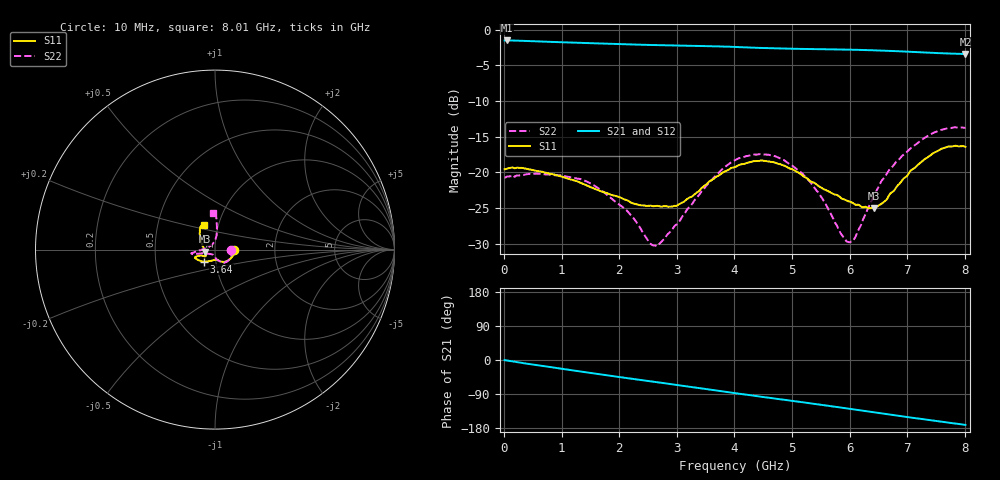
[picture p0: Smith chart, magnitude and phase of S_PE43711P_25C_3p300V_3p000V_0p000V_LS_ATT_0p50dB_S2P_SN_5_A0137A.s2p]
! Device ID: PE43711P
! File Path: z:\PE43711P\CHAR_NOM_04282014\AMB\3p300\LS_ATT_0p50dB\PE43711P_AMB_3p300V_3p000V_0p000V_LS_ATT_0p50dB_S2P_SN_5_A0137A.s2p
! Serial: 5
! Lot: A0137A
! Temp: 25C
! VDD: 3.300
! VSS: 0.000
! Control_Hi: 3.000
! Control_Lo: 0.000
! Attenuation Step: 0.50dB
! Port 1: RF1
! Port 2: RF2
! ThroughPath:1-2
! IDD: 0.0001273645
! ISS: -9.71e-008
#  Hz  S  RI  R  50
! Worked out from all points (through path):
!   801 points, 10 MHz to 8.01 GHz, reference 50 ohm
!   highest |S21| = -1.52 dB at 50 MHz (marker M1); lowest = -3.4 dB at 8.01 GHz (marker M2)
!   group delay of S21, straight-line fit = 58.9 ps
!   lowest |S11| = -25.0 dB at 6.42 GHz (marker M3), VSWR 1.12, Z = 44.8 - j1.04 ohm
!   |S11| at or under -10 dB: start of sweep to end of sweep
!   |S22| runs from -30.4 to -13.7 dB; largest |S21 - S12| = 0.0012
!   S11 on the Smith chart (normalised r, x): 10 MHz: 1.23, -0.00; 3.64 GHz: 0.88, -0.12; 8.01 GHz: 0.85, +0.24
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1e7  0.1049 -0.000587  0.8398 -0.00395  0.8399 -0.00428  0.0919 -0.000775
5e7  0.1059 -0.00274  0.8396 -0.0184  0.8396 -0.0184  0.0932 -0.00268
5.8e8  0.0917 -0.0444  0.8031 -0.199  0.8032 -0.1989  0.0865 -0.0456
1.35e9  0.0478 -0.0685  0.6927 -0.4152  0.6928 -0.4152  0.0501 -0.0736
2.1e9  0.019 -0.0615  0.5386 -0.5777  0.5387 -0.5779  0.00808 -0.0548
2.53e9  0.0136 -0.0566  0.437 -0.6477  0.4371 -0.6478  -0.00759 -0.031
2.68e9  0.00989 -0.0571  0.3999 -0.6685  0.4002 -0.6689  -0.0163 -0.0262
3.03e9  -0.00861 -0.0588  0.3085 -0.7099  0.3087 -0.7104  -0.0381 -0.023
3.64e9  -0.0602 -0.0667  0.1399 -0.7518  0.1395 -0.7521  -0.0889 -0.022
4.01e9  -0.0921 -0.0585  0.0338 -0.7552  0.0334 -0.7558  -0.119 -0.0247
4.34e9  -0.1096 -0.0482  -0.0564 -0.7453  -0.0565 -0.7459  -0.1311 -0.0231
4.69e9  -0.1096 -0.0416  -0.1474 -0.725  -0.1475 -0.7252  -0.1286 -0.0192
5.03e9  -0.0971 -0.0365  -0.2315 -0.6967  -0.232 -0.6969  -0.1087 -0.012
5.35e9  -0.079 -0.0322  -0.3089 -0.662  -0.3091 -0.6628  -0.0817 -0.00374
5.85e9  -0.0545 -0.0372  -0.4224 -0.5893  -0.4224 -0.5899  -0.0335 0.0157
5.98e9  -0.0517 -0.0353  -0.4494 -0.567  -0.4496 -0.5678  -0.0218 0.024
6.09e9  -0.0502 -0.0321  -0.4714 -0.5464  -0.4719 -0.547  -0.0129 0.0321
6.42e9  -0.0547 -0.0116  -0.5319 -0.4792  -0.532 -0.4798  0.00613 0.0681
6.68e9  -0.0666 0.0161  -0.5715 -0.4218  -0.5712 -0.4222  0.00972 0.1024
7.07e9  -0.0833 0.0616  -0.6173 -0.3285  -0.6172 -0.3287  0.00903 0.148
7.45e9  -0.0848 0.1064  -0.6453 -0.236  -0.6457 -0.2361  0.00285 0.1886
8.01e9  -0.0632 0.1368  -0.6668 -0.1029  -0.6674 -0.1019  -0.00903 0.2043
